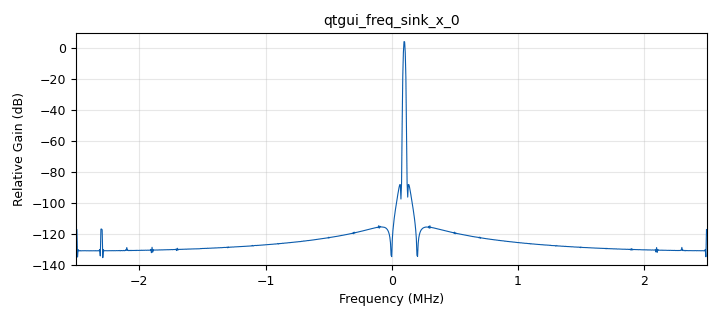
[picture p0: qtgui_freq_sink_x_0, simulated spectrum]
options:
  parameters:
    author: OmerKarp
    generate_options: qt_gui
    id: normal_communication
    output_language: python
    title: normal communcation without jammer
  states: {}

blocks:
- name: Tx_gain
  id: variable_qtgui_range
  parameters:
    start: '0'
    step: '1'
    stop: '30'
    value: '5'
  states: {}
- name: fc
  id: variable
  parameters:
    value: 443e6
  states: {}
- name: gain
  id: variable
  parameters:
    value: '30'
  states: {}
- name: samp_rate
  id: variable
  parameters:
    value: 5e6
  states: {}
- name: tone_freq
  id: variable_qtgui_range
  parameters:
    start: '-300e3'
    step: 1e3
    stop: 300e3
    value: 100e3
  states: {}
- name: analog_sig_source_x_0
  id: analog_sig_source_x
  parameters:
    amp: '1'
    freq: tone_freq
    offset: '0'
    phase: '0'
    samp_rate: samp_rate
    type: complex
    waveform: analog.GR_COS_WAVE
  states: {}
- name: blocks_multiply_const_vxx_0
  id: blocks_multiply_const_vxx
  parameters:
    const: Tx_gain
    type: complex
  states: {}
- name: qtgui_freq_sink_x_0
  id: qtgui_freq_sink_x
  parameters:
    bw: samp_rate
    fc: '0'
    fftsize: '1024'
    type: complex
  states: {}
- name: qtgui_waterfall_sink_x_0
  id: qtgui_waterfall_sink_x
  parameters:
    bw: samp_rate
    fc: '0'
    fftsize: '1024'
    type: complex
  states: {}
- name: uhd_usrp_sink_0
  id: uhd_usrp_sink
  parameters:
    ant0: '"TX/RX"'
    center_freq0: fc
    gain0: '0'
    samp_rate: samp_rate
    sync: sync
    type: fc32
  states: {}

connections:
- [analog_sig_source_x_0, '0', blocks_multiply_const_vxx_0, '0']
- [blocks_multiply_const_vxx_0, '0', qtgui_freq_sink_x_0, '0']
- [blocks_multiply_const_vxx_0, '0', uhd_usrp_sink_0, '0']

metadata:
  file_format: 1
  grc_version: 3.10.9.2
